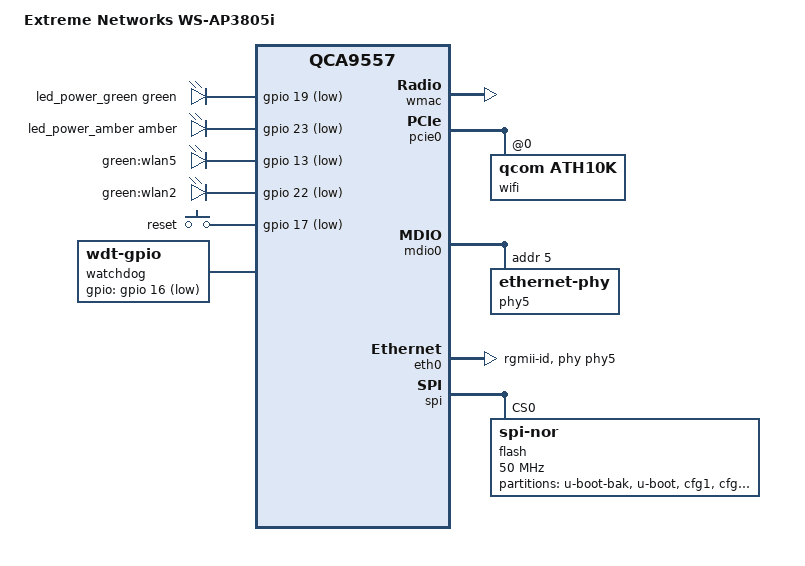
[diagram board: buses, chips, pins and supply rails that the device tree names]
// SPDX-License-Identifier: GPL-2.0-or-later OR MIT

#include "qca955x.dtsi"

#include <dt-bindings/gpio/gpio.h>
#include <dt-bindings/input/input.h>
#include <dt-bindings/leds/common.h>

/ {
	compatible = "extreme-networks,ws-ap3805i", "qca,qca9557";
	model = "Extreme Networks WS-AP3805i";

	aliases {
		led-boot = &led_power_green;
		led-failsafe = &led_power_amber;
		led-running = &led_power_green;
		led-upgrade = &led_power_amber;
		label-mac-device = &eth0;
	};

	leds {
		compatible = "gpio-leds";

		led_power_green: power_green {
			function = LED_FUNCTION_POWER;
			color = <LED_COLOR_ID_GREEN>;
			gpios = <&gpio 19 GPIO_ACTIVE_LOW>;
		};

		led_power_amber: power_amber {
			function = LED_FUNCTION_POWER;
			color = <LED_COLOR_ID_AMBER>;
			gpios = <&gpio 23 GPIO_ACTIVE_LOW>;
		};

		wlan5 {
			label = "green:wlan5";
			gpios = <&gpio 13 GPIO_ACTIVE_LOW>;
			linux,default-trigger = "phy0tpt";
		};

		wlan2 {
			label = "green:wlan2";
			gpios = <&gpio 22 GPIO_ACTIVE_LOW>;
			linux,default-trigger = "phy1tpt";
		};
	};

	keys {
		compatible = "gpio-keys";

		reset {
			label = "reset";
			linux,code = <KEY_RESTART>;
			gpios = <&gpio 17 GPIO_ACTIVE_LOW>;
		};
	};

	watchdog {
		compatible = "linux,wdt-gpio";
		gpios = <&gpio 16 GPIO_ACTIVE_LOW>;
		hw_algo = "toggle";
		hw_margin_ms = <20000>;
		always-running;
	};
};

&wdt {
	status = "disabled";
};

&wmac {
	status = "okay";

	qca,no-eeprom;
};

&pcie0 {
	status = "okay";

	wifi@0,0 {
		compatible = "qcom,ath10k";
		reg = <0x0 0 0 0 0>;
		nvmem-cells = <&cal_art_5000>;
		nvmem-cell-names = "calibration";
	};
};

&mdio0 {
	status = "okay";

	phy5: ethernet-phy@5 {
		reg = <5>;
	};
};

&eth0 {
	status = "okay";

	phy-handle = <&phy5>;
	phy-mode = "rgmii-id";

	pll-data = <0x82000000 0x80000101 0x80001313>;

	gmac-config {
		device = <&gmac>;
		rgmii-enabled = <1>;
	};
};

&spi {
	status = "okay";

	flash@0 {
		compatible = "jedec,spi-nor";
		reg = <0>;
		spi-max-frequency = <50000000>;
		m25p,fast-read;

		partitions {
			compatible = "fixed-partitions";
			#address-cells = <1>;
			#size-cells = <1>;

			partition@0 {
				label = "u-boot-bak";
				reg = <0x0 0x80000>;
				read-only;
			};

			partition@80000 {
				label = "u-boot";
				reg = <0x080000 0x80000>;
				read-only;
			};

			partition@100000 {
				label = "cfg1";
				reg = <0x100000 0x40000>;
				read-only;
			};

			partition@140000 {
				label = "cfg2";
				reg = <0x140000 0x40000>;
				read-only;
			};

			partition@180000 {
				label = "nvram4";
				reg = <0x180000 0x40000>;
				read-only;
			};

			partition@1c0000 {
				label = "nvram3";
				reg = <0x1c0000 0x40000>;
				read-only;
			};

			partition@200000 {
				label = "nvram2";
				reg = <0x200000 0x40000>;
				read-only;
			};

			partition@240000 {
				label = "nvram1";
				reg = <0x240000 0x40000>;
				read-only;
			};

			partition@280000 {
				label = "PriImg";
				reg = <0x280000 0x1000000>;
				read-only;
			};

			partition@1280000 {
				label = "SecImg";
				reg = <0x1280000 0x1000000>;
				read-only;
			};

			partition@2280000 {
				label = "firmware";
				compatible = "denx,uimage";
				reg = <0x2280000 0x1cc0000>;
			};

			partition@3f40000 {
				label = "cert";
				reg = <0x3f40000 0x80000>;
				read-only;
			};

			partition@3fc0000 {
				label = "art";
				reg = <0x3fc0000 0x40000>;
				read-only;

				nvmem-layout {
					compatible = "fixed-layout";
					#address-cells = <1>;
					#size-cells = <1>;

					cal_art_5000: calibration@5000 {
						reg = <0x5000 0x844>;
					};
				};
			};
		};
	};
};
